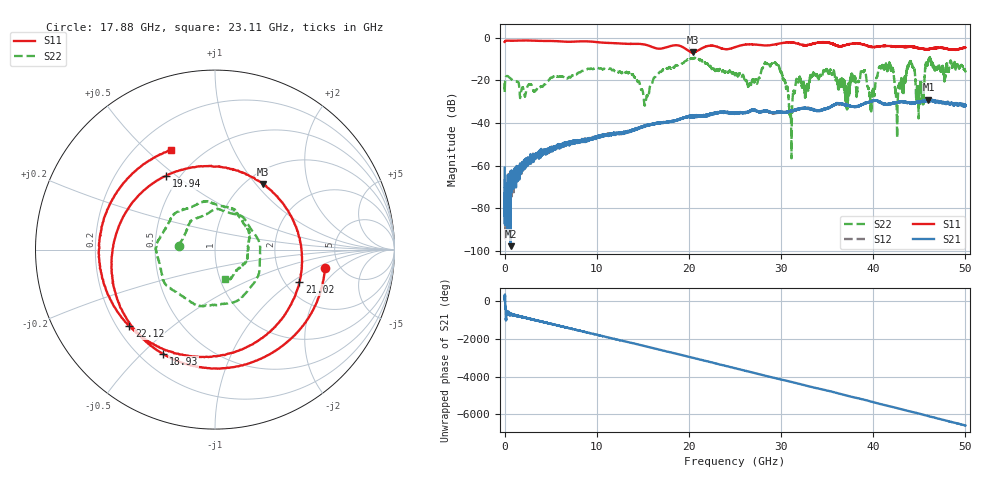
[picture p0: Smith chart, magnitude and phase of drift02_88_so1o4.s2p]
!Created with skrf (http://scikit-rf.org).
# Hz S RI R 50.0
!freq ReS11 ImS11 ReS21 ImS21 ReS12 ImS12 ReS22 ImS22
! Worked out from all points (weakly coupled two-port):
!   10001 points, 300 kHz to 50 GHz, reference 50 ohm
!   highest |S21| = -29.08 dB at 46 GHz (marker M1); lowest = -97.7 dB at 660.3 MHz (marker M2)
!   lowest |S11| = -6.9 dB at 20.44 GHz (marker M3), VSWR 2.65, Z = 59.3 + j54.3 ohm
!   |S11| at or under -10 dB: nowhere
!   |S22| runs from -56.5 to -9.1 dB; largest |S21 - S12| = 0.0035
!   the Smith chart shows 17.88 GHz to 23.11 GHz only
!   S11 on the Smith chart (normalised r, x): 17.88 GHz: 3.82, -1.29; 18.93 GHz: 0.29, -0.58; 19.94 GHz: 0.42, +0.46; 21.02 GHz: 2.38, -1.15; 22.12 GHz: 0.25, -0.36; 23.11 GHz: 0.34, +0.59
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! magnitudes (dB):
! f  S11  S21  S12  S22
! 300 kHz  -2.1  -60.9  -66.2  -21.4
! 660.3 MHz  -1.5  -97.7  -64.1  -19.2
! 8.335 GHz  -1.7  -48.3  -48.1  -15.7
! 15.33 GHz  -3.4  -41.2  -41.5  -29.1
! 16.67 GHz  -5.2  -40.1  -40.1  -17.0
! 17.88 GHz  -4.1  -39.3  -39.3  -13.8
! 18.93 GHz  -3.7  -38.2  -38.4  -12.4
! 19.94 GHz  -6.1  -37.0  -36.9  -10.1
! 20.44 GHz  -6.9  -36.9  -36.6  -10.0
! 21.02 GHz  -6.0  -36.9  -36.6  -9.8
! 22.12 GHz  -3.9  -36.3  -36.3  -12.9
! 23.11 GHz  -4.4  -35.2  -35.4  -15.4
! 25 GHz  -4.5  -35.4  -35.1  -17.6
! 29.52 GHz  -3.1  -34.9  -35.1  -12.6
! 31.03 GHz  -2.3  -34.3  -34.6  -34.6
! 33.34 GHz  -3.0  -33.7  -33.6  -18.1
! 38.92 GHz  -3.2  -31.0  -31.1  -16.2
! 39.87 GHz  -4.4  -30.0  -29.9  -26.6
! 41.67 GHz  -3.9  -31.1  -31.1  -13.0
! 42.62 GHz  -4.3  -30.2  -30.2  -36.8
! 46 GHz  -5.4  -29.1  -29.3  -10.4
! 50 GHz  -4.6  -31.8  -32.0  -16.0
